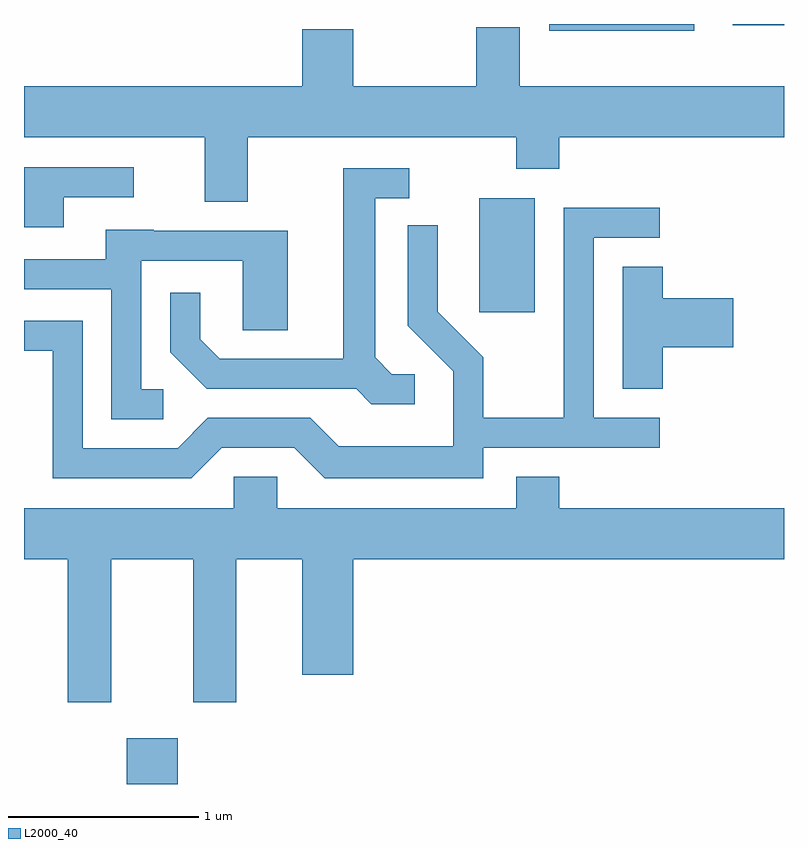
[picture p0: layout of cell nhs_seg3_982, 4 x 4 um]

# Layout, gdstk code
import gdstk
lib = gdstk.Library(unit=1e-6, precision=1e-09)
def R(c, l, rs):  # rectangles x0, y0, x1, y1
    for r in rs: c.add(gdstk.rectangle(r[:2], r[2:], *l))
def P(c, l, *ps):  # polygons
    for p in ps: c.add(gdstk.Polygon(p, *l))
L2000_40 = (2000, 40)

nhs_seg3_982 = lib.new_cell('nhs_seg3_982')
R(nhs_seg3_982, L2000_40, [(214.151,1175.892,214.419,1176.134), (216.006,1178.376,216.299,1178.974), (216.376,1179.856,217.139,1179.892), (217.341,1179.886,217.611,1179.892)])
P(nhs_seg3_982, L2000_40, [(214.789,1179.296),(216.201,1179.296),(216.201,1179.131),(216.429,1179.131),(216.429,1179.296),(217.611,1179.296),(217.611,1179.564),(216.219,1179.564),(216.219,1179.874),(215.991,1179.874),(215.991,1179.564),(215.344,1179.564),(215.344,1179.864),(215.076,1179.864),(215.076,1179.564),(213.611,1179.564),(213.611,1179.296),(214.561,1179.296),(214.561,1178.956),(214.789,1178.956)],
  [(213.819,1178.981),(214.188,1178.981),(214.188,1179.139),(213.611,1179.139),(213.611,1178.821),(213.819,1178.821)],
  [(215.668,1178.049),(215.547,1178.049),(215.459,1178.137),(215.459,1178.976),(215.638,1178.976),(215.638,1179.134),(215.291,1179.134),(215.291,1178.129),(214.642,1178.129),(214.539,1178.232),(214.539,1178.478),(214.381,1178.478),(214.381,1178.164),(214.574,1177.971),(215.359,1177.971),(215.439,1177.891),(215.668,1177.891)],
  [(214.652,1177.661),(215.034,1177.661),(215.194,1177.501),(216.029,1177.501),(216.029,1177.661),(216.958,1177.661),(216.958,1177.819),(216.609,1177.819),(216.609,1178.766),(216.958,1178.766),(216.958,1178.924),(216.451,1178.924),(216.451,1177.819),(216.029,1177.819),(216.029,1178.137),(215.789,1178.377),(215.789,1178.833),(215.631,1178.833),(215.631,1178.304),(215.871,1178.064),(215.871,1177.669),(215.267,1177.669),(215.117,1177.819),(214.579,1177.819),(214.419,1177.659),(213.919,1177.659),(213.919,1178.329),(213.611,1178.329),(213.611,1178.171),(213.761,1178.171),(213.761,1177.501),(214.492,1177.501)],
  [(214.343,1177.969),(214.229,1177.969),(214.229,1178.646),(214.761,1178.646),(214.761,1178.281),(214.999,1178.281),(214.999,1178.804),(214.295,1178.804),(214.295,1178.809),(214.041,1178.809),(214.041,1178.654),(213.611,1178.654),(213.611,1178.496),(214.071,1178.496),(214.071,1177.811),(214.343,1177.811)],
  [(216.974,1178.191),(217.344,1178.191),(217.344,1178.449),(216.974,1178.449),(216.974,1178.614),(216.761,1178.614),(216.761,1177.971),(216.974,1177.971)],
  [(214.069,1177.076),(214.501,1177.076),(214.501,1176.321),(214.729,1176.321),(214.729,1177.076),(215.076,1177.076),(215.076,1176.466),(215.344,1176.466),(215.344,1177.076),(217.611,1177.076),(217.611,1177.344),(216.429,1177.344),(216.429,1177.509),(216.201,1177.509),(216.201,1177.344),(214.944,1177.344),(214.944,1177.509),(214.716,1177.509),(214.716,1177.344),(213.611,1177.344),(213.611,1177.076),(213.841,1177.076),(213.841,1176.321),(214.069,1176.321)])

lib.write_gds('nhs_seg3_982.gds')
